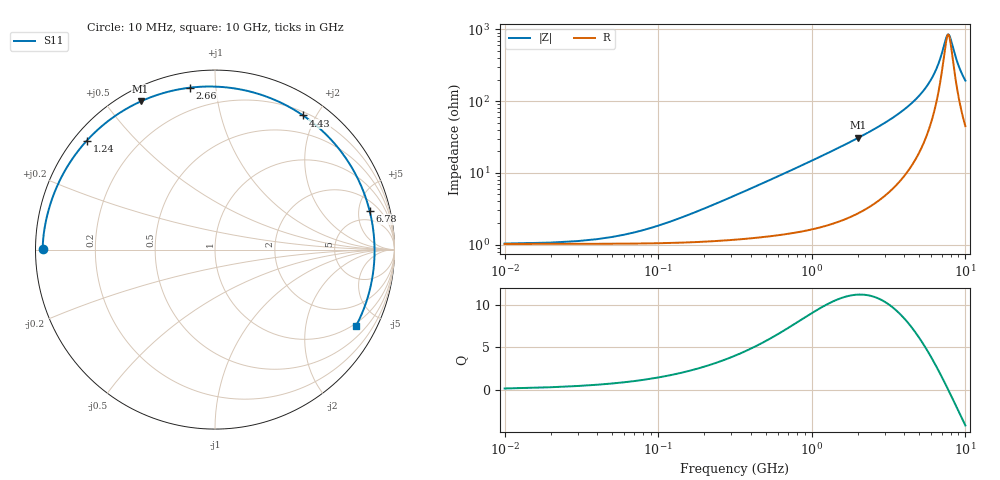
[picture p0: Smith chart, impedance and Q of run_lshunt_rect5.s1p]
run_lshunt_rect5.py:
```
import os
import numpy as np
from openEMS import openEMS
import matplotlib
matplotlib.use('Agg')
import matplotlib.pyplot as plt

from gds2openEMS import *

gds_filename = "Ind2_LSHUNT_OUT_RECT5_X314.0_Y107.8_SE.gds"
XML_filename = "/foss/designs/rapidpassives/try4/newflow/OPENEMS-GF180MCUD-1P5M-TM11KA-MIMB-STACKED4.xml"

settings = {}
settings['preview_only'] = False
settings['no_gui'] = True
settings['merge_polygon_size'] = 2
settings['resonance_estimation'] = True

script_path = utilities.get_script_path(__file__)
model_basename = utilities.get_basename(__file__)
sim_path = utilities.create_sim_path(script_path, model_basename)
print('Simulation data directory: ', sim_path)
os.chdir(os.path.dirname(os.path.abspath(__file__)))

settings['unit'] = 1e-6
settings['margin'] = 350
settings['fstart'] = 0
settings['fstop'] = 10e9
targetfreq = 2.4e9
settings['numfreq'] = 1001
settings['refined_cellsize'] = 0.5
settings['Boundaries'] = ['PEC', 'PEC', 'PEC', 'PEC', 'PEC', 'PEC']
settings['cells_per_wavelength'] = 10
settings['energy_limit'] = -60

simulation_ports = simulation_setup.all_simulation_ports()
simulation_ports.add_port(simulation_setup.simulation_port(portnumber=1, voltage=1, port_Z0=50, source_layernum=201, from_layername='M1', to_layername='TM', direction='z'))

materials_list, dielectrics_list, metals_list = stackup_reader.read_substrate(XML_filename)
layernumbers = metals_list.getlayernumbers()
layernumbers.extend(simulation_ports.portlayers)
allpolygons = gds_reader.read_gds(gds_filename, layernumbers, purposelist=[0], metals_list=metals_list, merge_polygon_size=settings['merge_polygon_size'])

FDTD = openEMS(EndCriteria=np.exp(settings['energy_limit']/10 * np.log(10)))
FDTD.SetGaussExcite((settings['fstart']+settings['fstop'])/2, (settings['fstop']-settings['fstart'])/2)
FDTD.SetBoundaryCond(settings['Boundaries'])

settings['simulation_ports'] = simulation_ports
settings['materials_list'] = materials_list
settings['dielectrics_list'] = dielectrics_list
settings['metals_list'] = metals_list
settings['layernumbers'] = layernumbers
settings['allpolygons'] = allpolygons
settings['sim_path'] = sim_path
settings['model_basename'] = model_basename

settings['excite_portnumbers'] = [1]
simulation_setup.setupSimulation(FDTD=FDTD, settings=settings)
simulation_setup.runSimulation(FDTD=FDTD, settings=settings)

if not settings['preview_only']:
    f = np.linspace(settings['fstart'], settings['fstop'], settings['numfreq'])
    s11 = utilities.calculate_Sij(1, 1, f, sim_path, simulation_ports)
    utilities.write_snp(np.array([s11]), f, os.path.join(sim_path, model_basename + '.s1p'), z0=simulation_ports.get_reference_impedance())

    z11 = utilities.calculate_Zij(1, 1, f, sim_path, simulation_ports)
    np.seterr(divide='ignore', invalid='ignore')
    omega = 2*np.pi*f
    Qse = z11.imag/z11.real
    Lse = z11.imag/omega
    Rse = z11.real

    findex = np.where(f >= targetfreq)[0].item(0)
    print('\nSingle-ended inductor parameters (LSHUNT_OUT_RECT5_X314.0_Y107.8)')
    print(f"Frequency [GHz]: {f[findex]/1e9:.3f}")
    print(f"Series L  [nH] : {Lse[findex]*1e9:.4f}")
    print(f"Series R  [Ohm]: {Rse[findex]:.4f}")
    print(f"Q factor       : {Qse[findex]:.3f}")
    print(f"Peak Q         : {max(Qse):.3f}")
```
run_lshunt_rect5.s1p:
#  Hz  S  RI  R  50
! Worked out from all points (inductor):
!   1000 points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, 10 MHz to 10 GHz, reference 50 ohm
!   read as one part to ground: L = 2.36 nH near 230 MHz
!   highest Q = 11.2 at 2.01 GHz (marker M1), where L = 2.44 nH
!   self-resonance near 7.731 GHz
!   S11 on the Smith chart (normalised r, x): 10 MHz: 0.02, +0.00; 1.24 GHz: 0.04, +0.37; 2.66 GHz: 0.08, +0.86; 4.43 GHz: 0.25, +1.83; 6.78 GHz: 3.20, +6.56; 10 GHz: 0.89, -3.76
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1e7  -0.9599 0.00583
5.9e8  -0.8935 0.3202
1.24e9  -0.7146 0.6068
1.63e9  -0.5701 0.7352
2.01e9  -0.4144 0.8254
2.66e9  -0.138 0.9024
3.34e9  0.1352 0.8936
3.85e9  0.3161 0.8411
4.43e9  0.4905 0.7474
5.51e9  0.7235 0.5171
6.67e9  0.8544 0.2421
6.78e9  0.8614 0.2162
8.24e9  0.8834 -0.1077
1e10  0.7865 -0.4242
